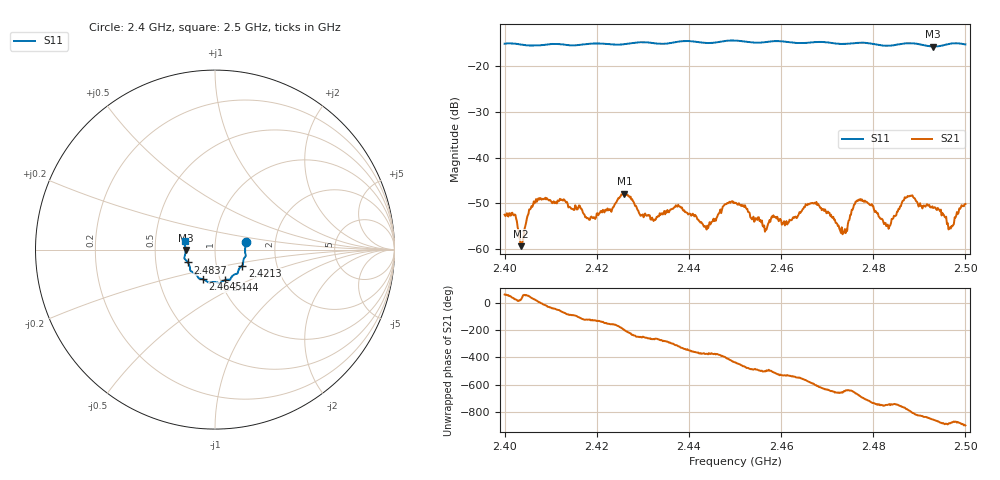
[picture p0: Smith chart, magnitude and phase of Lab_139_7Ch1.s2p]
# Hz S RI R 50
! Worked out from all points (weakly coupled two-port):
!   601 points, 2.4 GHz to 2.5 GHz, reference 50 ohm
!   highest |S21| = -47.92 dB at 2.426 GHz (marker M1); lowest = -59.4 dB at 2.4035 GHz (marker M2)
!   lowest |S11| = -15.7 dB at 2.493 GHz (marker M3), VSWR 1.39, Z = 35.9 - j0.219 ohm
!   |S11| at or under -10 dB: start of sweep to end of sweep
!   S12 and S22 are empty: the file has one direction only
!   S11 on the Smith chart (normalised r, x): 2.4 GHz: 1.41, +0.12; 2.4213 GHz: 1.33, -0.25; 2.444 GHz: 1.06, -0.37; 2.4645 GHz: 0.83, -0.29; 2.4837 GHz: 0.73, -0.11; 2.5 GHz: 0.71, +0.07
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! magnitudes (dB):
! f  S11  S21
! 2.4 GHz  -15.1  -52.5
! 2.402 GHz  -15.1  -52.6
! 2.4035 GHz  -15.3  -59.4
! 2.4073 GHz  -15.5  -48.9
! 2.4167 GHz  -15.3  -51.2
! 2.4213 GHz  -15.1  -51.4
! 2.426 GHz  -15.2  -47.9
! 2.4333 GHz  -15.1  -52.8
! 2.4377 GHz  -14.7  -50.3
! 2.444 GHz  -15.0  -54.9
! 2.45 GHz  -14.4  -50.0
! 2.4565 GHz  -14.8  -56.2
! 2.4645 GHz  -15.0  -51.7
! 2.4667 GHz  -14.8  -50.0
! 2.4732 GHz  -15.1  -55.3
! 2.477 GHz  -14.9  -49.4
! 2.4833 GHz  -15.6  -55.6
! 2.4837 GHz  -15.5  -54.9
! 2.4873 GHz  -15.0  -48.7
! 2.493 GHz  -15.7  -51.0
! 2.4968 GHz  -15.1  -55.5
! 2.5 GHz  -15.3  -50.2
